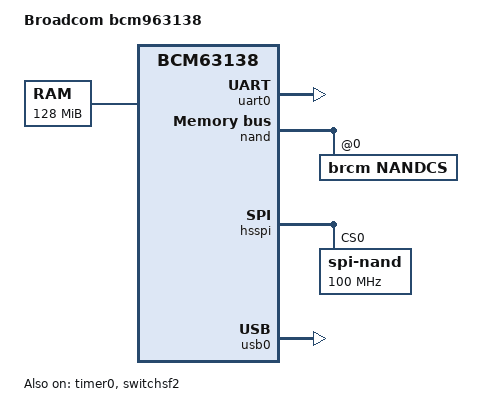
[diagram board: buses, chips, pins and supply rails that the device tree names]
// SPDX-License-Identifier: GPL-2.0+
/*
 * Copyright 2019 Broadcom Ltd.
 */


/dts-v1/;

#include "bcm63138.dtsi"

/ {
	model = "Broadcom bcm963138";
	compatible = "broadcom,bcm963138", "brcm,bcm963138";

	aliases {
		serial0 = &uart0;
	};

	chosen {
		stdout-path = "serial0:115200n8";
		tick-timer = &timer0;
	};

	memory {
		device_type = "memory";
		reg = <0x0 0x08000000>;
	};
};

&uart0 {
	u-boot,dm-pre-reloc;
	status = "okay";
};

&timer0 {
	u-boot,dm-pre-reloc;
	status = "okay";
};

&nand {
	status = "okay";
	write-protect = <0>;
	#address-cells = <1>;
	#size-cells = <0>;

	nandcs@0 {
		compatible = "brcm,nandcs";
		reg = <0>;
	};
};

&hsspi {
	status = "okay";
	spi-nand {
		compatible = "spi-nand";
		reg = <0>;
		#address-cells = <1>;
		#size-cells = <0>;
		u-boot,dm-pre-reloc;				
		spi-max-frequency = <100000000>;
	};
};

&usb0 {
	status = "okay";
	pinctrl-0 = <&usb0a_pwrflt_pins &usb0a_pwron_pins>;
	pinctrl-names = "default";
};

&switchsf2 {
	status = "okay";
	phy_base = <0x8>;
	ports {
		port0@0 {
			phy-handle = <&gphy8>;
		};
		port1@1 {
			phy-handle = <&gphy9>;
		};
		port2@2 {
			phy-handle = <&gphya>;
		};
		port3@3 {
			phy-handle = <&gphyb>;
		};
	};
};

